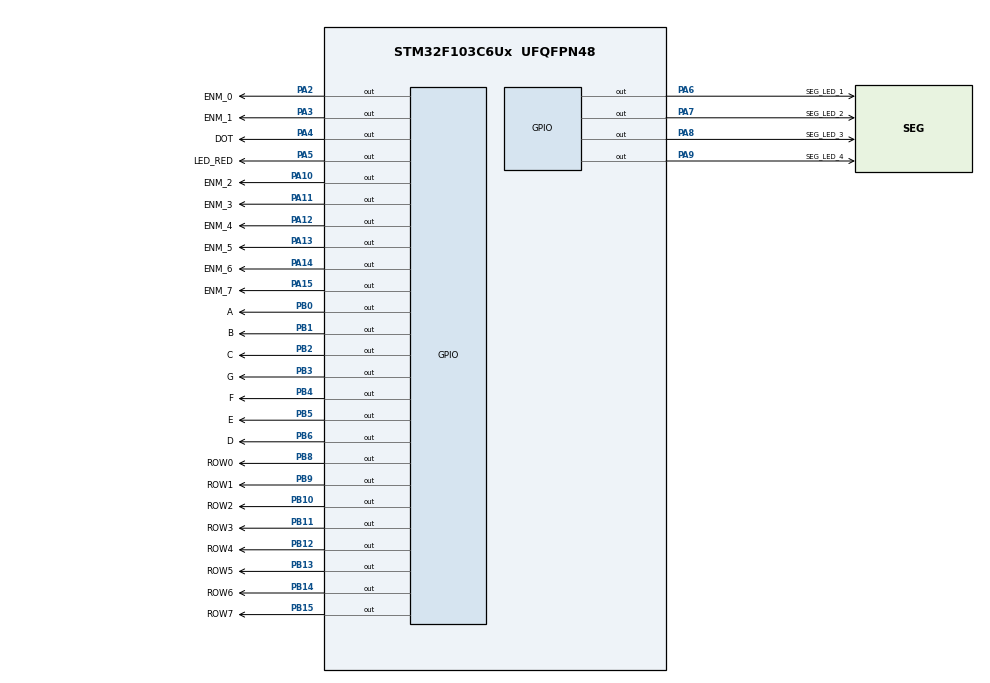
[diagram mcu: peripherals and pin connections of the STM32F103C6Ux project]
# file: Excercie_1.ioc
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Mcu.Family=STM32F1
Mcu.Name=STM32F103C6Ux
Mcu.Package=UFQFPN48
NVIC.PriorityGroup=NVIC_PRIORITYGROUP_4
NVIC.TIM2_IRQn=true\:0\:0\:false\:false\:true\:true\:true
PA10.GPIO_Label=ENM_2
PA10.Signal=GPIO_Output
PA11.GPIO_Label=ENM_3
PA11.Signal=GPIO_Output
PA12.GPIO_Label=ENM_4
PA12.Signal=GPIO_Output
PA13.GPIO_Label=ENM_5
PA13.Signal=GPIO_Output
PA14.GPIO_Label=ENM_6
PA14.Signal=GPIO_Output
PA15.GPIO_Label=ENM_7
PA15.Signal=GPIO_Output
PA2.GPIO_Label=ENM_0
PA2.Signal=GPIO_Output
PA3.GPIO_Label=ENM_1
PA3.Signal=GPIO_Output
PA4.GPIO_Label=DOT
PA4.Signal=GPIO_Output
PA5.GPIO_Label=LED_RED
PA5.Signal=GPIO_Output
PA6.GPIO_Label=SEG_LED_1
PA6.Signal=GPIO_Output
PA7.GPIO_Label=SEG_LED_2
PA7.Signal=GPIO_Output
PA8.GPIO_Label=SEG_LED_3
PA8.Signal=GPIO_Output
PA9.GPIO_Label=SEG_LED_4
PA9.Signal=GPIO_Output
PB0.GPIO_Label=A
PB0.Signal=GPIO_Output
PB1.GPIO_Label=B
PB1.Signal=GPIO_Output
PB10.GPIO_Label=ROW2
PB10.Signal=GPIO_Output
PB11.GPIO_Label=ROW3
PB11.Signal=GPIO_Output
PB12.GPIO_Label=ROW4
PB12.Signal=GPIO_Output
PB13.GPIO_Label=ROW5
PB13.Signal=GPIO_Output
PB14.GPIO_Label=ROW6
PB14.Signal=GPIO_Output
PB15.GPIO_Label=ROW7
PB15.Signal=GPIO_Output
PB2.GPIO_Label=C
PB2.Signal=GPIO_Output
PB3.GPIO_Label=G
PB3.Signal=GPIO_Output
PB4.GPIO_Label=F
PB4.Signal=GPIO_Output
PB5.GPIO_Label=E
PB5.Signal=GPIO_Output
PB6.GPIO_Label=D
PB6.Signal=GPIO_Output
PB8.GPIO_Label=ROW0
PB8.Signal=GPIO_Output
PB9.GPIO_Label=ROW1
PB9.Signal=GPIO_Output
ProjectManager.HeapSize=0x200
ProjectManager.StackSize=0x400
ProjectManager.TargetToolchain=STM32CubeIDE
RCC.APB1Freq_Value=8000000
RCC.APB2Freq_Value=8000000
TIM2.Period=9
TIM2.Prescaler=7999
VP_SYS_VS_ND.Mode=No_Debug
VP_TIM2_VS_ClockSourceINT.Mode=Internal
board=custom

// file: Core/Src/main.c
/* USER CODE BEGIN Header */
/**
  ******************************************************************************
  * @file           : main.c
  * @brief          : Main program body
  ******************************************************************************
  * @attention
  *
  * <h2><center>&copy; Copyright (c) 2025 STMicroelectronics.
  * All rights reserved.</center></h2>
  *
  * This software component is licensed by ST under BSD 3-Clause license,
  * the "License"; You may not use this file except in compliance with the
  * License. You may obtain a copy of the License at:
  *                        opensource.org/licenses/BSD-3-Clause
  *
  ******************************************************************************
  */
/* USER CODE END Header */
#include "main.h"

TIM_HandleTypeDef htim2;

void SystemClock_Config(void);
static void MX_GPIO_Init(void);
static void MX_TIM2_Init(void);

/* USER CODE BEGIN 0 */

void display7SEG(int num){
	switch(num){
	case 1:
		  HAL_GPIO_WritePin ( A_GPIO_Port , A_Pin , GPIO_PIN_SET );
		  HAL_GPIO_WritePin ( B_GPIO_Port , B_Pin , GPIO_PIN_RESET );
		  HAL_GPIO_WritePin ( C_GPIO_Port , C_Pin , GPIO_PIN_RESET );
		  HAL_GPIO_WritePin ( D_GPIO_Port , D_Pin , GPIO_PIN_SET );
		  HAL_GPIO_WritePin ( E_GPIO_Port , E_Pin , GPIO_PIN_SET );
		  HAL_GPIO_WritePin ( F_GPIO_Port , F_Pin , GPIO_PIN_SET );
		  HAL_GPIO_WritePin ( G_GPIO_Port , G_Pin , GPIO_PIN_SET );
		  return;

	case 2:
		  HAL_GPIO_WritePin ( A_GPIO_Port , A_Pin , GPIO_PIN_RESET );
		  HAL_GPIO_WritePin ( B_GPIO_Port , B_Pin , GPIO_PIN_RESET );
		  HAL_GPIO_WritePin ( C_GPIO_Port , C_Pin , GPIO_PIN_SET );
		  HAL_GPIO_WritePin ( D_GPIO_Port , D_Pin , GPIO_PIN_RESET );
		  HAL_GPIO_WritePin ( E_GPIO_Port , E_Pin , GPIO_PIN_SET );
		  HAL_GPIO_WritePin ( F_GPIO_Port , F_Pin , GPIO_PIN_RESET );
		  HAL_GPIO_WritePin ( G_GPIO_Port , G_Pin , GPIO_PIN_RESET );
		  return;

	case 3:
		  HAL_GPIO_WritePin ( A_GPIO_Port , A_Pin , GPIO_PIN_RESET );
		  HAL_GPIO_WritePin ( B_GPIO_Port , B_Pin , GPIO_PIN_RESET );
		  HAL_GPIO_WritePin ( C_GPIO_Port , C_Pin , GPIO_PIN_RESET );
		  HAL_GPIO_WritePin ( D_GPIO_Port , D_Pin , GPIO_PIN_RESET );
		  HAL_GPIO_WritePin ( E_GPIO_Port , E_Pin , GPIO_PIN_SET );
		  HAL_GPIO_WritePin ( F_GPIO_Port , F_Pin , GPIO_PIN_SET );
		  HAL_GPIO_WritePin ( G_GPIO_Port , G_Pin , GPIO_PIN_RESET );
		  return;

	case 4:
		  HAL_GPIO_WritePin ( A_GPIO_Port , A_Pin , GPIO_PIN_SET );
		  HAL_GPIO_WritePin ( B_GPIO_Port , B_Pin , GPIO_PIN_RESET );
		  HAL_GPIO_WritePin ( C_GPIO_Port , C_Pin , GPIO_PIN_RESET );
		  HAL_GPIO_WritePin ( D_GPIO_Port , D_Pin , GPIO_PIN_RESET );
		  HAL_GPIO_WritePin ( E_GPIO_Port , E_Pin , GPIO_PIN_RESET );
		  HAL_GPIO_WritePin ( F_GPIO_Port , F_Pin , GPIO_PIN_SET );
		  HAL_GPIO_WritePin ( G_GPIO_Port , G_Pin , GPIO_PIN_SET );
		  return;

	case 5:
		  HAL_GPIO_WritePin ( A_GPIO_Port , A_Pin , GPIO_PIN_RESET );
		  HAL_GPIO_WritePin ( B_GPIO_Port , B_Pin , GPIO_PIN_SET );
		  HAL_GPIO_WritePin ( C_GPIO_Port , C_Pin , GPIO_PIN_RESET );
		  HAL_GPIO_WritePin ( D_GPIO_Port , D_Pin , GPIO_PIN_RESET );
		  HAL_GPIO_WritePin ( E_GPIO_Port , E_Pin , GPIO_PIN_RESET );
		  HAL_GPIO_WritePin ( F_GPIO_Port , F_Pin , GPIO_PIN_SET );
		  HAL_GPIO_WritePin ( G_GPIO_Port , G_Pin , GPIO_PIN_RESET );
		  return;

	case 6:
		  HAL_GPIO_WritePin ( A_GPIO_Port , A_Pin , GPIO_PIN_RESET );
		  HAL_GPIO_WritePin ( B_GPIO_Port , B_Pin , GPIO_PIN_SET );
		  HAL_GPIO_WritePin ( C_GPIO_Port , C_Pin , GPIO_PIN_RESET );
		  HAL_GPIO_WritePin ( D_GPIO_Port , D_Pin , GPIO_PIN_RESET );
		  HAL_GPIO_WritePin ( E_GPIO_Port , E_Pin , GPIO_PIN_RESET );
		  HAL_GPIO_WritePin ( F_GPIO_Port , F_Pin , GPIO_PIN_RESET );
		  HAL_GPIO_WritePin ( G_GPIO_Port , G_Pin , GPIO_PIN_RESET );
		  return;

	case 7:
		  HAL_GPIO_WritePin ( A_GPIO_Port , A_Pin , GPIO_PIN_RESET );
		  HAL_GPIO_WritePin ( B_GPIO_Port , B_Pin , GPIO_PIN_RESET );
		  HAL_GPIO_WritePin ( C_GPIO_Port , C_Pin , GPIO_PIN_RESET );
		  HAL_GPIO_WritePin ( D_GPIO_Port , D_Pin , GPIO_PIN_SET );
		  HAL_GPIO_WritePin ( E_GPIO_Port , E_Pin , GPIO_PIN_SET );
		  HAL_GPIO_WritePin ( F_GPIO_Port , F_Pin , GPIO_PIN_SET );
		  HAL_GPIO_WritePin ( G_GPIO_Port , G_Pin , GPIO_PIN_SET );
		  return;

	case 8:
		  HAL_GPIO_WritePin ( A_GPIO_Port , A_Pin , GPIO_PIN_RESET );
		  HAL_GPIO_WritePin ( B_GPIO_Port , B_Pin , GPIO_PIN_RESET );
		  HAL_GPIO_WritePin ( C_GPIO_Port , C_Pin , GPIO_PIN_RESET );
		  HAL_GPIO_WritePin ( D_GPIO_Port , D_Pin , GPIO_PIN_RESET );
		  HAL_GPIO_WritePin ( E_GPIO_Port , E_Pin , GPIO_PIN_RESET );
		  HAL_GPIO_WritePin ( F_GPIO_Port , F_Pin , GPIO_PIN_RESET );
		  HAL_GPIO_WritePin ( G_GPIO_Port , G_Pin , GPIO_PIN_RESET );
		  return;

	case 9:
		  HAL_GPIO_WritePin ( A_GPIO_Port , A_Pin , GPIO_PIN_RESET );
		  HAL_GPIO_WritePin ( B_GPIO_Port , B_Pin , GPIO_PIN_RESET );
		  HAL_GPIO_WritePin ( C_GPIO_Port , C_Pin , GPIO_PIN_RESET );
		  HAL_GPIO_WritePin ( D_GPIO_Port , D_Pin , GPIO_PIN_RESET );
		  HAL_GPIO_WritePin ( E_GPIO_Port , E_Pin , GPIO_PIN_RESET );
		  HAL_GPIO_WritePin ( F_GPIO_Port , F_Pin , GPIO_PIN_SET );
		  HAL_GPIO_WritePin ( G_GPIO_Port , G_Pin , GPIO_PIN_RESET );
		  return;

	case 0:
		  HAL_GPIO_WritePin ( A_GPIO_Port , A_Pin , GPIO_PIN_RESET );
		  HAL_GPIO_WritePin ( B_GPIO_Port , B_Pin , GPIO_PIN_RESET );
		  HAL_GPIO_WritePin ( C_GPIO_Port , C_Pin , GPIO_PIN_RESET );
		  HAL_GPIO_WritePin ( D_GPIO_Port , D_Pin , GPIO_PIN_SET );
		  HAL_GPIO_WritePin ( E_GPIO_Port , E_Pin , GPIO_PIN_RESET );
		  HAL_GPIO_WritePin ( F_GPIO_Port , F_Pin , GPIO_PIN_RESET );
		  HAL_GPIO_WritePin ( G_GPIO_Port , G_Pin , GPIO_PIN_RESET );
		  return;

	}
}

/* USER CODE END 0 */

int hour = 7, minute = 58, second = 58;

int main(void)
{

  /* MCU Configuration--------------------------------------------------------*/

  /* Reset of all peripherals, Initializes the Flash interface and the Systick. */
  HAL_Init();

  /* Configure the system clock */
  SystemClock_Config();

  /* Initialize all configured peripherals */
  MX_GPIO_Init();
  MX_TIM2_Init();
  HAL_TIM_Base_Start_IT (& htim2 );
  /* Infinite loop */
  while (1)
  {
	  second ++;
	  if ( second >= 60) {
		  second = 0;
		  minute ++;
	  }
	  if( minute >= 60) {
		  minute = 0;
		  hour ++;
	  }
		  if( hour >=24){
		  hour = 0;
	  }
	  updateClockBuffer();

	  HAL_Delay (1000) ;
  }
}

void SystemClock_Config(void)
{
  RCC_OscInitTypeDef RCC_OscInitStruct = {0};
  RCC_ClkInitTypeDef RCC_ClkInitStruct = {0};

  /** Initializes the RCC Oscillators according to the specified parameters
  * in the RCC_OscInitTypeDef structure.
  */
  RCC_OscInitStruct.OscillatorType = RCC_OSCILLATORTYPE_HSI;
  RCC_OscInitStruct.HSIState = RCC_HSI_ON;
  RCC_OscInitStruct.HSICalibrationValue = RCC_HSICALIBRATION_DEFAULT;
  RCC_OscInitStruct.PLL.PLLState = RCC_PLL_NONE;
  if (HAL_RCC_OscConfig(&RCC_OscInitStruct) != HAL_OK)
  {
    Error_Handler();
  }
  /** Initializes the CPU, AHB and APB buses clocks
  */
  RCC_ClkInitStruct.ClockType = RCC_CLOCKTYPE_HCLK|RCC_CLOCKTYPE_SYSCLK
                              |RCC_CLOCKTYPE_PCLK1|RCC_CLOCKTYPE_PCLK2;
  RCC_ClkInitStruct.SYSCLKSource = RCC_SYSCLKSOURCE_HSI;
  RCC_ClkInitStruct.AHBCLKDivider = RCC_SYSCLK_DIV1;
  RCC_ClkInitStruct.APB1CLKDivider = RCC_HCLK_DIV1;
  RCC_ClkInitStruct.APB2CLKDivider = RCC_HCLK_DIV1;

  if (HAL_RCC_ClockConfig(&RCC_ClkInitStruct, FLASH_LATENCY_0) != HAL_OK)
  {
    Error_Handler();
  }
}

static void MX_TIM2_Init(void)
{

  TIM_ClockConfigTypeDef sClockSourceConfig = {0};
  TIM_MasterConfigTypeDef sMasterConfig = {0};

  htim2.Instance = TIM2;
  htim2.Init.Prescaler = 7999;
  htim2.Init.CounterMode = TIM_COUNTERMODE_UP;
  htim2.Init.Period = 9;
  htim2.Init.ClockDivision = TIM_CLOCKDIVISION_DIV1;
  htim2.Init.AutoReloadPreload = TIM_AUTORELOAD_PRELOAD_DISABLE;
  if (HAL_TIM_Base_Init(&htim2) != HAL_OK)
  {
    Error_Handler();
  }
  sClockSourceConfig.ClockSource = TIM_CLOCKSOURCE_INTERNAL;
  if (HAL_TIM_ConfigClockSource(&htim2, &sClockSourceConfig) != HAL_OK)
  {
    Error_Handler();
  }
  sMasterConfig.MasterOutputTrigger = TIM_TRGO_RESET;
  sMasterConfig.MasterSlaveMode = TIM_MASTERSLAVEMODE_DISABLE;
  if (HAL_TIMEx_MasterConfigSynchronization(&htim2, &sMasterConfig) != HAL_OK)
  {
    Error_Handler();
  }

}

static void MX_GPIO_Init(void)
{
  GPIO_InitTypeDef GPIO_InitStruct = {0};

  /* GPIO Ports Clock Enable */
  __HAL_RCC_GPIOA_CLK_ENABLE();
  __HAL_RCC_GPIOB_CLK_ENABLE();

  /*Configure GPIO pin Output Level */
  HAL_GPIO_WritePin(GPIOA, DOT_Pin|LED_RED_Pin|SEG_LED_1_Pin|SEG_LED_2_Pin
                          |SEG_LED_3_Pin|SEG_LED_4_Pin, GPIO_PIN_RESET);

  /*Configure GPIO pin Output Level */
  HAL_GPIO_WritePin(GPIOB, A_Pin|B_Pin|C_Pin|G_Pin
                          |F_Pin|E_Pin|D_Pin, GPIO_PIN_RESET);

  /*Configure GPIO pins : DOT_Pin LED_RED_Pin SEG_LED_1_Pin SEG_LED_2_Pin
                           SEG_LED_3_Pin SEG_LED_4_Pin */
  GPIO_InitStruct.Pin = DOT_Pin|LED_RED_Pin|SEG_LED_1_Pin|SEG_LED_2_Pin
                          |SEG_LED_3_Pin|SEG_LED_4_Pin;
  GPIO_InitStruct.Mode = GPIO_MODE_OUTPUT_PP;
  GPIO_InitStruct.Pull = GPIO_NOPULL;
  GPIO_InitStruct.Speed = GPIO_SPEED_FREQ_LOW;
  HAL_GPIO_Init(GPIOA, &GPIO_InitStruct);

  /*Configure GPIO pins : A_Pin B_Pin C_Pin G_Pin
                           F_Pin E_Pin D_Pin */
  GPIO_InitStruct.Pin = A_Pin|B_Pin|C_Pin|G_Pin
                          |F_Pin|E_Pin|D_Pin;
  GPIO_InitStruct.Mode = GPIO_MODE_OUTPUT_PP;
  GPIO_InitStruct.Pull = GPIO_NOPULL;
  GPIO_InitStruct.Speed = GPIO_SPEED_FREQ_LOW;
  HAL_GPIO_Init(GPIOB, &GPIO_InitStruct);

}

/* USER CODE BEGIN 4 */

int index_led = 0;
int led_buffer [4] = {1, 4, 1, 0};

void updateClockBuffer(){
	led_buffer[0] = hour/10;
	led_buffer[1] = hour%10;
	led_buffer[2] = minute/10;
	led_buffer[3] = minute%10;
}

void update7SEG ( int index )
{
	switch ( index ){
		case 0:
			// Display the first 7 SEG with led_buffer [0]
            HAL_GPIO_WritePin(GPIOA, SEG_LED_1_Pin | SEG_LED_2_Pin | SEG_LED_3_Pin | SEG_LED_4_Pin, GPIO_PIN_SET);
            display7SEG(led_buffer[0]);
            HAL_GPIO_WritePin(GPIOA, SEG_LED_1_Pin, GPIO_PIN_RESET);
            break ;
		case 1:
			// Display the second 7 SEG with led_buffer [1]
			HAL_GPIO_WritePin(GPIOA, SEG_LED_1_Pin | SEG_LED_2_Pin | SEG_LED_3_Pin | SEG_LED_4_Pin, GPIO_PIN_SET);
            display7SEG(led_buffer[1]);
            HAL_GPIO_WritePin(GPIOA, SEG_LED_2_Pin, GPIO_PIN_RESET);
			break ;
		case 2:
			// Display the third 7 SEG with led_buffer [2]
			HAL_GPIO_WritePin(GPIOA, SEG_LED_1_Pin | SEG_LED_2_Pin | SEG_LED_3_Pin | SEG_LED_4_Pin, GPIO_PIN_SET);
			display7SEG(led_buffer[2]);
            HAL_GPIO_WritePin(GPIOA, SEG_LED_3_Pin, GPIO_PIN_RESET);
			break ;
		case 3:
			// Display the forth 7 SEG with led_buffer [3]
			HAL_GPIO_WritePin(GPIOA, SEG_LED_1_Pin | SEG_LED_2_Pin | SEG_LED_3_Pin | SEG_LED_4_Pin, GPIO_PIN_SET);
			display7SEG(led_buffer[3]);
            HAL_GPIO_WritePin(GPIOA, SEG_LED_4_Pin, GPIO_PIN_RESET);
			break ;
		default :
			break ;
	}
}

int dot_blink_counter = 0;

int segment_counter = 0;

int state = 0;

void HAL_TIM_PeriodElapsedCallback(TIM_HandleTypeDef *htim)
{
    if (htim->Instance == TIM2)
    {
        dot_blink_counter++;
        if (dot_blink_counter >= 100)
        {
            dot_blink_counter = 0;
            HAL_GPIO_TogglePin(DOT_GPIO_Port, DOT_Pin);
            HAL_GPIO_TogglePin(LED_RED_GPIO_Port, LED_RED_Pin);
        }

        segment_counter++;
        if (segment_counter >= 25)
        {
            segment_counter = 0;

            update7SEG(state);

            state = (state + 1) % 4;
        }
    }
}

/* USER CODE END 4 */

void Error_Handler(void)
{
  __disable_irq();
  while (1)
  {
  }
}

/************************ (C) COPYRIGHT STMicroelectronics *****END OF FILE****/
